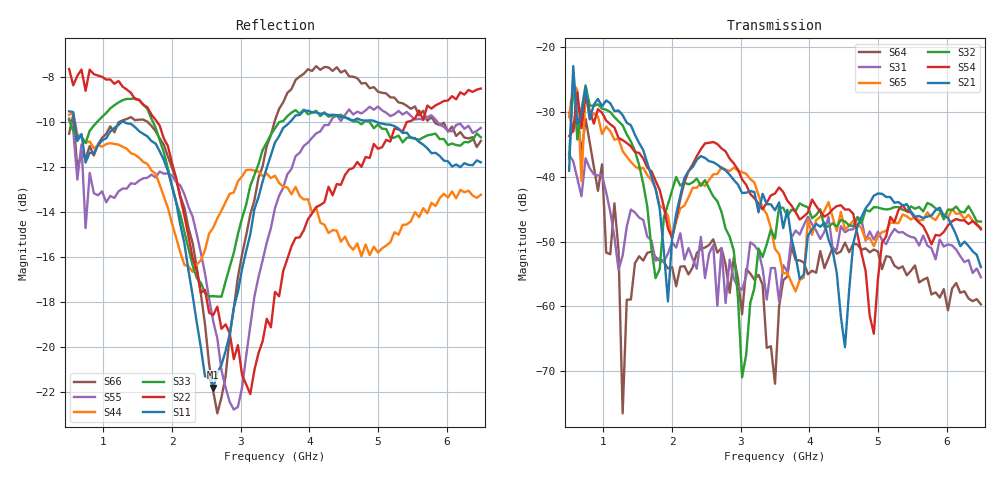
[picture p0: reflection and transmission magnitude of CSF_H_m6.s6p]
!Keysight Technologies,M9804A,MY58100912,A.14.10.03
!Date: Thursday, April 27, 2023 10:28:33
!Correction: S11(C  6-Port  )
!S12(C  6-Port  )
!S13(C  6-Port  )
!S14(C  6-Port  )
!S15(C  6-Port  )
!S16(C  6-Port  )
!S21(C  6-Port  )
!S22(C  6-Port  )
!S23(C  6-Port  )
!S24(C  6-Port  )
!S25(C  6-Port  )
!S26(C  6-Port  )
!S31(C  6-Port  )
!S32(C  6-Port  )
!S33(C  6-Port  )
!S34(C  6-Port  )
!S35(C  6-Port  )
!S36(C  6-Port  )
!S41(C  6-Port  )
!S42(C  6-Port  )
!S43(C  6-Port  )
!S44(C  6-Port  )
!S45(C  6-Port  )
!S46(C  6-Port  )
!S51(C  6-Port  )
!S52(C  6-Port  )
!S53(C  6-Port  )
!S54(C  6-Port  )
!S55(C  6-Port  )
!S56(C  6-Port  )
!S61(C  6-Port  )
!S62(C  6-Port  )
!S63(C  6-Port  )
!S64(C  6-Port  )
!S65(C  6-Port  )
!S66(C  6-Port  )
!S6P File: Measurement: :
# Hz S  RI  R 50
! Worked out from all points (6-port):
!   101 points, 500 MHz to 6.5 GHz, reference 50 ohm
!   strongest paths, dB at 500 MHz, 2 GHz, 3.5 GHz, 5 GHz, 6.5 GHz:
!     S21: -39.1, -49.6, -45.2, -42.6, -53.9
!     S54: -33.7, -49.4, -42.6, -55.8, -48.1
!     S32: -37.1, -42.1, -49.5, -44.7, -46.9
!     S65: -30.8, -49.6, -51.1, -49.2, -47.9
!     S31: -36.6, -50.1, -54.1, -48.5, -55.5
!     S64: -30.1, -53.9, -71.9, -51.5, -59.7
!   lowest |S11| = -21.8 dB at 2.6 GHz (marker M1), VSWR 1.18, Z = 42.7 + j1.92 ohm
!   |S11| at or under -10 dB: 580.4 MHz to 1.268 GHz (688 MHz wide, 74.4 % of centre); 1.3 GHz to 3.719 GHz (2.419 GHz wide, 96.4 % of centre); 4.98 GHz to end of sweep
